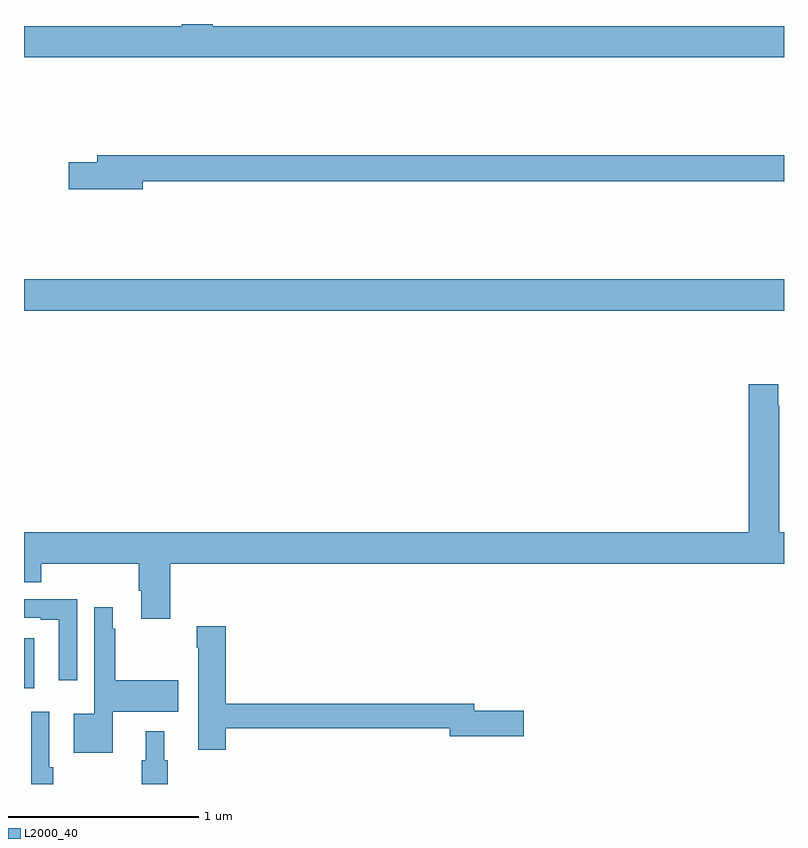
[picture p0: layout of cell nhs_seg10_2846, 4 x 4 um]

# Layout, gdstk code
import gdstk
lib = gdstk.Library(unit=1e-6, precision=1e-09)
def R(c, l, rs):  # rectangles x0, y0, x1, y1
    for r in rs: c.add(gdstk.rectangle(r[:2], r[2:], *l))
def P(c, l, *ps):  # polygons
    for p in ps: c.add(gdstk.Polygon(p, *l))
L2000_40 = (2000, 40)

nhs_seg10_2846 = lib.new_cell('nhs_seg10_2846')
R(nhs_seg10_2846, L2000_40, [(265,1289.003,265.054,1289.266), (265,1290.992,269,1291.156)])
P(nhs_seg10_2846, L2000_40, [(269,1292.488),(265.994,1292.488),(265.994,1292.5),(265.829,1292.5),(265.829,1292.488),(265,1292.488),(265,1292.324),(269,1292.324)],
  [(265.624,1291.672),(269,1291.672),(269,1291.808),(265.385,1291.808),(265.385,1291.772),(265.236,1291.772),(265.236,1291.63),(265.624,1291.63)],
  [(265.769,1289.66),(269,1289.66),(269,1289.824),(268.974,1289.824),(268.974,1290.491),(268.969,1290.491),(268.969,1290.604),(268.814,1290.604),(268.814,1289.824),(265,1289.824),(265,1289.562),(265.091,1289.562),(265.091,1289.66),(265.604,1289.66),(265.604,1289.518),(265.616,1289.518),(265.616,1289.37),(265.769,1289.37)],
  [(265.281,1289.472),(265,1289.472),(265,1289.376),(265.088,1289.376),(265.088,1289.364),(265.184,1289.364),(265.184,1289.046),(265.281,1289.046)],
  [(265.468,1288.88),(265.813,1288.88),(265.813,1289.046),(265.48,1289.046),(265.48,1289.318),(265.468,1289.318),(265.468,1289.431),(265.371,1289.431),(265.371,1288.87),(265.262,1288.87),(265.262,1288.664),(265.468,1288.664)],
  [(266.063,1288.794),(267.242,1288.794),(267.242,1288.751),(267.631,1288.751),(267.631,1288.886),(267.37,1288.886),(267.37,1288.922),(266.063,1288.922),(266.063,1289.329),(265.909,1289.329),(265.909,1289.216),(265.916,1289.216),(265.916,1288.68),(266.063,1288.68)],
  [(265.154,1288.588),(265.134,1288.588),(265.134,1288.879),(265.037,1288.879),(265.037,1288.5),(265.154,1288.5)],
  [(265.757,1288.626),(265.738,1288.626),(265.738,1288.777),(265.64,1288.777),(265.64,1288.626),(265.621,1288.626),(265.621,1288.5),(265.757,1288.5)])

lib.write_gds('nhs_seg10_2846.gds')
